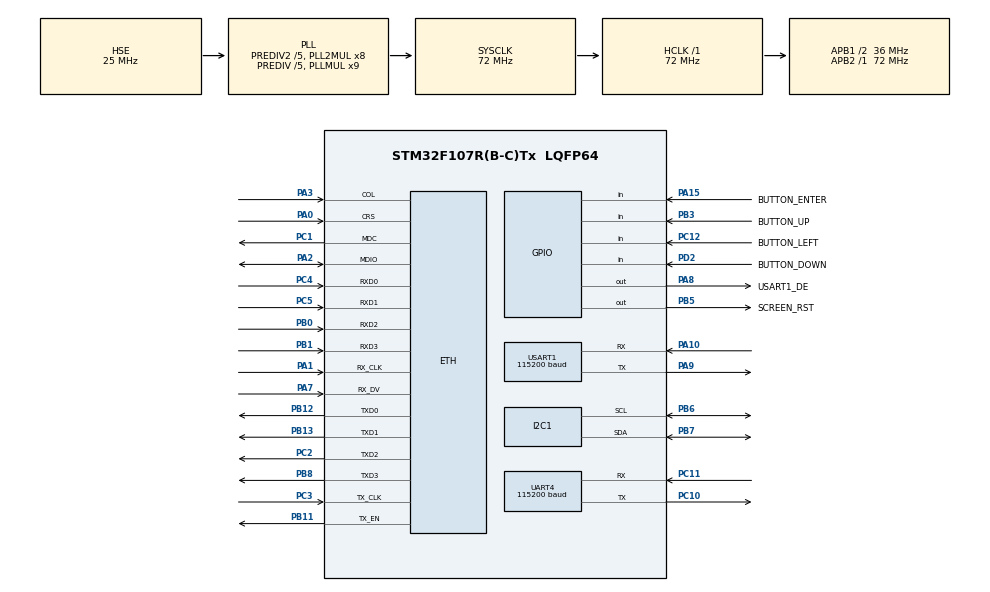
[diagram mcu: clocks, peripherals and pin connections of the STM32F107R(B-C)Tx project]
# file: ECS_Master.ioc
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Dma.Request0=USART1_RX
Dma.Request1=USART1_TX
Dma.USART1_RX.0.Direction=DMA_PERIPH_TO_MEMORY
Dma.USART1_RX.0.Instance=DMA1_Channel5
Dma.USART1_RX.0.MemDataAlignment=DMA_MDATAALIGN_BYTE
Dma.USART1_RX.0.MemInc=DMA_MINC_ENABLE
Dma.USART1_RX.0.Mode=DMA_CIRCULAR
Dma.USART1_RX.0.PeriphDataAlignment=DMA_PDATAALIGN_BYTE
Dma.USART1_RX.0.PeriphInc=DMA_PINC_DISABLE
Dma.USART1_RX.0.Priority=DMA_PRIORITY_LOW
Dma.USART1_TX.1.Direction=DMA_MEMORY_TO_PERIPH
Dma.USART1_TX.1.Instance=DMA1_Channel4
Dma.USART1_TX.1.MemDataAlignment=DMA_MDATAALIGN_BYTE
Dma.USART1_TX.1.MemInc=DMA_MINC_ENABLE
Dma.USART1_TX.1.Mode=DMA_NORMAL
Dma.USART1_TX.1.PeriphDataAlignment=DMA_PDATAALIGN_BYTE
Dma.USART1_TX.1.PeriphInc=DMA_PINC_DISABLE
Dma.USART1_TX.1.Priority=DMA_PRIORITY_LOW
ETH.AutoNegotiation=ETH_AUTONEGOTIATION_ENABLE
ETH.MediaInterface=ETH_MEDIA_INTERFACE_MII
ETH.PHY_DUPLEX_STATUS=0x0010
ETH.PHY_Name_MII=userPHY
ETH.PHY_SPEED_STATUS=0x0008
ETH.PHY_SR=0x1F
ETH.PHY_User_Name=LAN8741A
ETH.PhyAddress=2
LWIP.GATEWAY_ADDRESS=172.017.000.001
LWIP.IP_ADDRESS=172.017.006.006
LWIP.LWIP_DHCP=0
LWIP.MEM_SIZE=10*1024
LWIP.NETMASK_ADDRESS=255.255.248.000
LWIP.Version=v2.0.3_Cube
Mcu.Family=STM32F1
Mcu.Name=STM32F107R(B-C)Tx
Mcu.Package=LQFP64
NVIC.DMA1_Channel4_IRQn=true\:0\:0\:false\:false\:true\:false\:true\:true
NVIC.DMA1_Channel5_IRQn=true\:0\:0\:false\:false\:true\:false\:true\:true
NVIC.PriorityGroup=NVIC_PRIORITYGROUP_4
NVIC.TIM6_IRQn=true\:0\:0\:false\:false\:true\:true\:true\:true
NVIC.USART1_IRQn=true\:0\:0\:false\:false\:true\:false\:true\:true
PA0-WKUP.Mode=MII
PA0-WKUP.Signal=ETH_CRS
PA1.Mode=MII
PA1.Signal=ETH_RX_CLK
PA10.Mode=Asynchronous
PA10.Signal=USART1_RX
PA13.Mode=Serial_Wire
PA13.Signal=SYS_JTMS-SWDIO
PA14.Mode=Serial_Wire
PA14.Signal=SYS_JTCK-SWCLK
PA15.GPIO_Label=BUTTON_ENTER
PA15.GPIO_Mode=GPIO_MODE_INPUT
PA15.GPIO_PuPd=GPIO_NOPULL
PA15.Signal=GPIO_Input
PA2.Mode=MII
PA2.Signal=ETH_MDIO
PA3.Mode=MII
PA3.Signal=ETH_COL
PA7.Mode=MII
PA7.Signal=ETH_RX_DV
PA8.GPIO_Label=USART1_DE
PA8.GPIO_Speed=GPIO_SPEED_FREQ_MEDIUM
PA8.PinState=GPIO_PIN_RESET
PA8.Signal=GPIO_Output
PA9.Mode=Asynchronous
PA9.Signal=USART1_TX
PB0.Mode=MII
PB0.Signal=ETH_RXD2
PB1.Mode=MII
PB1.Signal=ETH_RXD3
PB11.Mode=MII
PB11.Signal=ETH_TX_EN
PB12.Mode=MII
PB12.Signal=ETH_TXD0
PB13.Mode=MII
PB13.Signal=ETH_TXD1
PB3.GPIO_Label=BUTTON_UP
PB3.GPIO_Mode=GPIO_MODE_INPUT
PB3.GPIO_PuPd=GPIO_NOPULL
PB3.Signal=GPIO_Input
PB5.GPIO_Label=SCREEN_RST
PB5.Signal=GPIO_Output
PB6.Mode=I2C
PB6.Signal=I2C1_SCL
PB7.Mode=I2C
PB7.Signal=I2C1_SDA
PB8.Mode=MII
PB8.Signal=ETH_TXD3
PC1.Mode=MII
PC1.Signal=ETH_MDC
PC10.Mode=Asynchronous
PC10.Signal=UART4_TX
PC11.Mode=Asynchronous
PC11.Signal=UART4_RX
PC12.GPIO_Label=BUTTON_LEFT
PC12.GPIO_Mode=GPIO_MODE_INPUT
PC12.GPIO_PuPd=GPIO_NOPULL
PC12.Signal=GPIO_Input
PC2.Mode=MII
PC2.Signal=ETH_TXD2
PC3.Mode=MII
PC3.Signal=ETH_TX_CLK
PC4.Mode=MII
PC4.Signal=ETH_RXD0
PC5.Mode=MII
PC5.Signal=ETH_RXD1
PD0-OSC_IN.Mode=HSE-External-Oscillator
PD0-OSC_IN.Signal=RCC_OSC_IN
PD1-OSC_OUT.Mode=HSE-External-Oscillator
PD1-OSC_OUT.Signal=RCC_OSC_OUT
PD2.GPIO_Label=BUTTON_DOWN
PD2.GPIO_Mode=GPIO_MODE_INPUT
PD2.GPIO_PuPd=GPIO_NOPULL
PD2.Signal=GPIO_Input
ProjectManager.HeapSize=0x200
ProjectManager.StackSize=0x400
ProjectManager.TargetToolchain=CMake
RCC.AHBFreq_Value=72000000
RCC.APB1CLKDivider=RCC_HCLK_DIV2
RCC.APB1Freq_Value=36000000
RCC.APB1TimFreq_Value=72000000
RCC.APB2Freq_Value=72000000
RCC.APB2TimFreq_Value=72000000
RCC.HCLKFreq_Value=72000000
RCC.HSEDivPLL=RCC_HSE_PREDIV_DIV5
RCC.HSE_VALUE=25000000
RCC.PLLMUL=RCC_PLL_MUL9
RCC.PLLSourceVirtual=RCC_PLLSOURCE_HSE
RCC.Prediv1Source=RCC_PREDIV1_SOURCE_PLL2
RCC.Prediv2=RCC_HSE_PREDIV2_DIV5
RCC.SYSCLKFreq_VALUE=72000000
RCC.SYSCLKSource=RCC_SYSCLKSOURCE_PLLCLK
RCC.USBFreq_Value=48000000
TIM6.AutoReloadPreload=TIM_AUTORELOAD_PRELOAD_ENABLE
TIM6.Period=36000-1
TIM6.Prescaler=60000-1
UART4.BaudRate=115200
UART4.Mode=MODE_TX
UART4.VirtualMode=Asynchronous
USART1.BaudRate=115200
USART1.VirtualMode=VM_ASYNC
VP_LWIP_VS_Enabled.Mode=Enabled
VP_TIM6_VS_ClockSourceINT.Mode=Enable_Timer
board=custom

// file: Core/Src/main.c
/* USER CODE BEGIN Header */
/**
 ******************************************************************************
 * @file           : main.c
 * @brief          : Main program body
 ******************************************************************************
 * @attention
 *
 * Copyright (c) 2025 STMicroelectronics.
 * All rights reserved.
 *
 * This software is licensed under terms that can be found in the LICENSE file
 * in the root directory of this software component.
 * If no LICENSE file comes with this software, it is provided AS-IS.
 *
 ******************************************************************************
 */
/* USER CODE END Header */
#include "main.h"
#include "dma.h"
#include "gpio.h"
#include "i2c.h"
#include "lwip.h"
#include "modbus/circularBuffer.h"
#include "tim.h"
#include "usart.h"

/* USER CODE BEGIN Includes */
#include "SSD1803A/screens.h"
#include "TCP/tcp_server.h"
#include "eeprom.h"
#include "modbus/modbus.h"
#include <stdio.h>

/* USER CODE END Includes */

/* USER CODE BEGIN PV */
extern cbuf_handle_t hcbuf_modbus;
/* USER CODE END PV */

void SystemClock_Config(void);

/* USER CODE BEGIN 0 */
extern struct netif gnetif;
/* USER CODE END 0 */

int main(void) {

	/* USER CODE BEGIN 1 */
	struct tcp_pcb *tcp_server_pcb = NULL;
	/* USER CODE END 1 */

	/* MCU Configuration--------------------------------------------------------*/

	/* Reset of all peripherals, Initializes the Flash interface and the Systick. */
	HAL_Init();

	/* Configure the system clock */
	SystemClock_Config();

	/* Initialize all configured peripherals */
	MX_GPIO_Init();
	MX_DMA_Init();
	MX_I2C1_Init();
	MX_TIM6_Init();
	MX_UART4_Init();
	MX_USART1_UART_Init();
	MX_LWIP_Init();
	/* USER CODE BEGIN 2 */
	/* Close any stale TCP server PCB from previous execution (software reset) */
	if (tcp_server_pcb != NULL) {
		tcp_close(tcp_server_pcb);
		tcp_server_pcb = NULL;
	}

	screen_init();
	Modbus_init();
	eeprom_init();
	if (tcp_server_init(&tcp_server_pcb) != TCP_SERVER_ERR_OK) {
		LOG_ERROR("Failed to initialize TCP server\r");
	}
	screen_show(SCREEN_HOME);
	printSplashScreen();
	printNetworkInfo();
	/* USER CODE END 2 */

	/* Infinite loop */
	while (1) {

		/* USER CODE BEGIN 3 */
		MX_LWIP_Process();
		gpio_getUserInput();
		Modbus_parsePackage(hcbuf_modbus);
		HAL_Delay(100);
	}
	/* USER CODE END 3 */
}

void SystemClock_Config(void) {
	RCC_OscInitTypeDef RCC_OscInitStruct = { 0 };
	RCC_ClkInitTypeDef RCC_ClkInitStruct = { 0 };

	/** Initializes the RCC Oscillators according to the specified parameters
	 * in the RCC_OscInitTypeDef structure.
	 */
	RCC_OscInitStruct.OscillatorType = RCC_OSCILLATORTYPE_HSE;
	RCC_OscInitStruct.HSEState = RCC_HSE_ON;
	RCC_OscInitStruct.HSEPredivValue = RCC_HSE_PREDIV_DIV5;
	RCC_OscInitStruct.HSIState = RCC_HSI_ON;
	RCC_OscInitStruct.Prediv1Source = RCC_PREDIV1_SOURCE_PLL2;
	RCC_OscInitStruct.PLL.PLLState = RCC_PLL_ON;
	RCC_OscInitStruct.PLL.PLLSource = RCC_PLLSOURCE_HSE;
	RCC_OscInitStruct.PLL.PLLMUL = RCC_PLL_MUL9;
	RCC_OscInitStruct.PLL2.PLL2State = RCC_PLL2_ON;
	RCC_OscInitStruct.PLL2.PLL2MUL = RCC_PLL2_MUL8;
	RCC_OscInitStruct.PLL2.HSEPrediv2Value = RCC_HSE_PREDIV2_DIV5;
	if (HAL_RCC_OscConfig(&RCC_OscInitStruct) != HAL_OK) {
		Error_Handler();
	}

	/** Initializes the CPU, AHB and APB buses clocks
	 */
	RCC_ClkInitStruct.ClockType = RCC_CLOCKTYPE_HCLK | RCC_CLOCKTYPE_SYSCLK | RCC_CLOCKTYPE_PCLK1 | RCC_CLOCKTYPE_PCLK2;
	RCC_ClkInitStruct.SYSCLKSource = RCC_SYSCLKSOURCE_PLLCLK;
	RCC_ClkInitStruct.AHBCLKDivider = RCC_SYSCLK_DIV1;
	RCC_ClkInitStruct.APB1CLKDivider = RCC_HCLK_DIV2;
	RCC_ClkInitStruct.APB2CLKDivider = RCC_HCLK_DIV1;

	if (HAL_RCC_ClockConfig(&RCC_ClkInitStruct, FLASH_LATENCY_2) != HAL_OK) {
		Error_Handler();
	}

	/** Configure the Systick interrupt time
	 */
	__HAL_RCC_PLLI2S_ENABLE();
}

void Error_Handler(void) {
	/* USER CODE BEGIN Error_Handler_Debug */
	/* User can add his own implementation to report the HAL error return state
	 */
	__disable_irq();
	while (1) {
	}
	/* USER CODE END Error_Handler_Debug */
}
#ifdef USE_FULL_ASSERT
/**
 * @brief  Reports the name of the source file and the source line number
 *         where the assert_param error has occurred.
 * @param  file: pointer to the source file name
 * @param  line: assert_param error line source number
 * @retval None
 */
void assert_failed(uint8_t *file, uint32_t line) {
	/* USER CODE BEGIN 6 */
	/* User can add his own implementation to report the file name and line
		 number, ex: printf("Wrong parameters value: file %s on line %d\r\n",
		 file, line) */
	/* USER CODE END 6 */
}
#endif /* USE_FULL_ASSERT */
